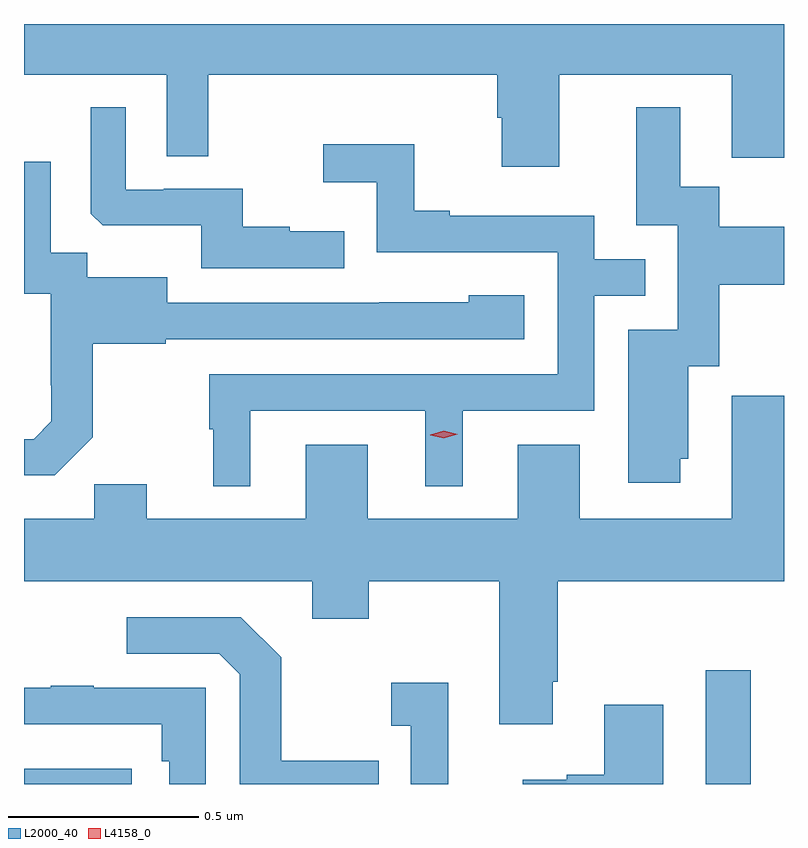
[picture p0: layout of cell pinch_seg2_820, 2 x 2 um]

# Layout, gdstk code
import gdstk
lib = gdstk.Library(unit=1e-6, precision=1e-09)
def R(c, l, rs):  # rectangles x0, y0, x1, y1
    for r in rs: c.add(gdstk.rectangle(r[:2], r[2:], *l))
def P(c, l, *ps):  # polygons
    for p in ps: c.add(gdstk.Polygon(p, *l))
L2000_40 = (2000, 40)
L4158_0 = (4158, 0)

pinch_seg2_820 = lib.new_cell('pinch_seg2_820')
R(pinch_seg2_820, L2000_40, [(641.102,612.47,641.386,612.51), (642.896,612.47,643.015,612.769)])
P(pinch_seg2_820, L2000_40, [(642.511,614.336),(642.965,614.336),(642.965,614.118),(643.102,614.118),(643.102,614.47),(641.102,614.47),(641.102,614.336),(641.478,614.336),(641.478,614.122),(641.587,614.122),(641.587,614.336),(642.347,614.336),(642.347,614.223),(642.359,614.223),(642.359,614.094),(642.511,614.094)],
  [(641.945,613.924),(641.801,613.924),(641.801,613.936),(641.678,613.936),(641.678,614.037),(641.47,614.037),(641.47,614.034),(641.37,614.034),(641.37,614.251),(641.277,614.251),(641.277,613.971),(641.309,613.94),(641.568,613.94),(641.568,613.827),(641.945,613.827)],
  [(642.829,613.326),(642.85,613.326),(642.85,613.569),(642.931,613.569),(642.931,613.784),(643.102,613.784),(643.102,613.936),(642.931,613.936),(642.931,614.042),(642.829,614.042),(642.829,614.251),(642.713,614.251),(642.713,613.941),(642.822,613.941),(642.822,613.665),(642.692,613.665),(642.692,613.263),(642.829,613.263)],
  [(641.698,613.452),(642.158,613.452),(642.158,613.253),(642.256,613.253),(642.256,613.452),(642.603,613.452),(642.603,613.755),(642.737,613.755),(642.737,613.851),(642.603,613.851),(642.603,613.965),(642.223,613.965),(642.223,613.978),(642.129,613.978),(642.129,614.153),(641.889,614.153),(641.889,614.054),(642.03,614.054),(642.03,613.869),(642.507,613.869),(642.507,613.548),(641.589,613.548),(641.589,613.404),(641.6,613.404),(641.6,613.253),(641.698,613.253)],
  [(641.283,613.383),(641.283,613.629),(641.475,613.629),(641.475,613.641),(642.418,613.641),(642.418,613.756),(642.273,613.756),(642.273,613.738),(642.037,613.738),(642.037,613.737),(641.479,613.737),(641.479,613.804),(641.268,613.804),(641.268,613.868),(641.173,613.868),(641.173,614.107),(641.102,614.107),(641.102,613.76),(641.172,613.76),(641.172,613.519),(641.174,613.519),(641.174,613.424),(641.127,613.377),(641.102,613.377),(641.102,613.283),(641.183,613.283)],
  [(642.493,612.739),(642.506,612.739),(642.506,613.004),(643.102,613.004),(643.102,613.492),(642.965,613.492),(642.965,613.168),(642.565,613.168),(642.565,613.363),(642.401,613.363),(642.401,613.168),(642.007,613.168),(642.007,613.363),(641.843,613.363),(641.843,613.168),(641.425,613.168),(641.425,613.259),(641.287,613.259),(641.287,613.168),(641.102,613.168),(641.102,613.004),(641.861,613.004),(641.861,612.905),(642.009,612.905),(642.009,613.004),(642.353,613.004),(642.353,612.627),(642.493,612.627)],
  [(642.035,612.531),(641.779,612.531),(641.779,612.803),(641.673,612.909),(641.373,612.909),(641.373,612.813),(641.616,612.813),(641.67,612.759),(641.67,612.47),(642.035,612.47)],
  [(642.218,612.736),(642.069,612.736),(642.069,612.623),(642.12,612.623),(642.12,612.47),(642.218,612.47)],
  [(641.58,612.723),(641.285,612.723),(641.285,612.728),(641.173,612.728),(641.173,612.723),(641.102,612.723),(641.102,612.627),(641.464,612.627),(641.464,612.53),(641.484,612.53),(641.484,612.47),(641.58,612.47)],
  [(642.784,612.679),(642.629,612.679),(642.629,612.494),(642.53,612.494),(642.53,612.481),(642.414,612.481),(642.414,612.47),(642.784,612.47)])
P(pinch_seg2_820, L4158_0, [(642.207,613.38),(642.171,613.388),(642.171,613.388),(642.171,613.389),(642.207,613.4),(642.243,613.391),(642.243,613.391),(642.243,613.39)])

lib.write_gds('pinch_seg2_820.gds')
